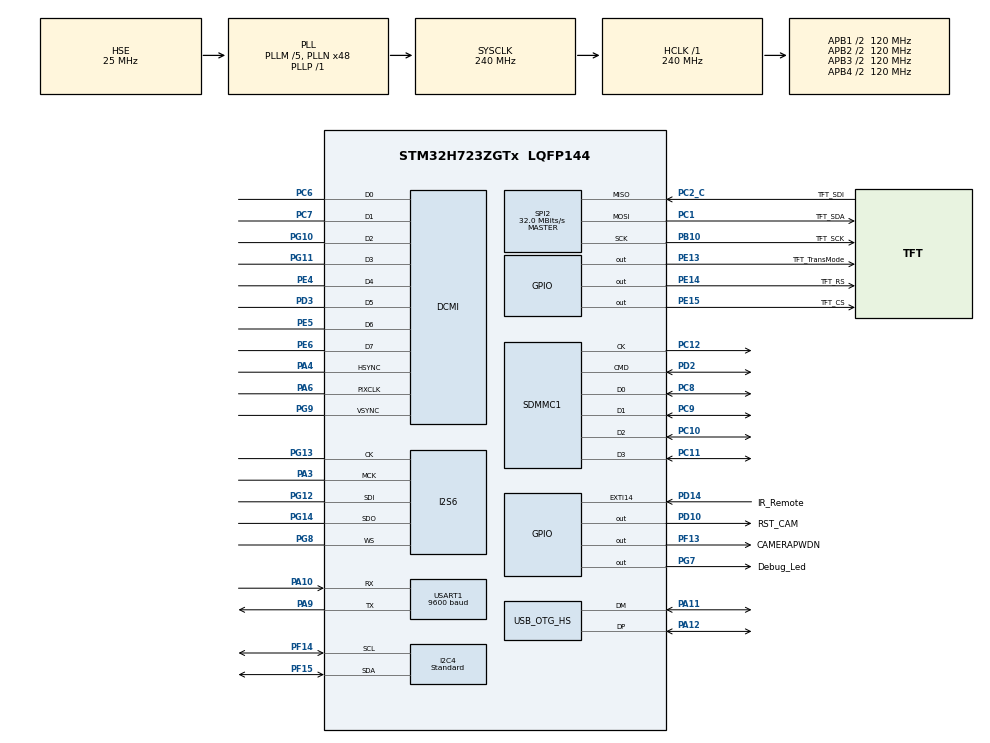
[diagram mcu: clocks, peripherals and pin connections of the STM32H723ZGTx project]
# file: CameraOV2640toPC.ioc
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Bdma.Request0=SPI6_TX
Bdma.RequestsNb=1
Bdma.SPI6_TX.0.Direction=DMA_MEMORY_TO_PERIPH
Bdma.SPI6_TX.0.EventEnable=DISABLE
Bdma.SPI6_TX.0.Instance=BDMA_Channel0
Bdma.SPI6_TX.0.MemDataAlignment=DMA_MDATAALIGN_HALFWORD
Bdma.SPI6_TX.0.MemInc=DMA_MINC_ENABLE
Bdma.SPI6_TX.0.Mode=DMA_CIRCULAR
Bdma.SPI6_TX.0.PeriphDataAlignment=DMA_PDATAALIGN_HALFWORD
Bdma.SPI6_TX.0.PeriphInc=DMA_PINC_DISABLE
Bdma.SPI6_TX.0.Polarity=HAL_DMAMUX_REQ_GEN_RISING
Bdma.SPI6_TX.0.Priority=DMA_PRIORITY_LOW
Bdma.SPI6_TX.0.RequestNumber=1
Bdma.SPI6_TX.0.SignalID=NONE
Bdma.SPI6_TX.0.SyncEnable=DISABLE
Bdma.SPI6_TX.0.SyncPolarity=HAL_DMAMUX_SYNC_NO_EVENT
Bdma.SPI6_TX.0.SyncRequestNumber=1
Bdma.SPI6_TX.0.SyncSignalID=NONE
CORTEX_M7.default_mode_Activation=1
DCMI.ByteSelectMode=DCMI_BSM_ALL
DCMI.CaptureRate=DCMI_CR_ALL_FRAME
DCMI.HSPolarity=DCMI_HSPOLARITY_LOW
DCMI.JPEGMode=DCMI_JPEG_ENABLE
DCMI.PCKPolarity=DCMI_PCKPOLARITY_RISING
DCMI.VSPolarity=DCMI_VSPOLARITY_LOW
Dma.DCMI.2.Direction=DMA_PERIPH_TO_MEMORY
Dma.DCMI.2.EventEnable=DISABLE
Dma.DCMI.2.FIFOMode=DMA_FIFOMODE_ENABLE
Dma.DCMI.2.FIFOThreshold=DMA_FIFO_THRESHOLD_FULL
Dma.DCMI.2.Instance=DMA1_Stream1
Dma.DCMI.2.MemBurst=DMA_MBURST_SINGLE
Dma.DCMI.2.MemDataAlignment=DMA_MDATAALIGN_WORD
Dma.DCMI.2.MemInc=DMA_MINC_ENABLE
Dma.DCMI.2.Mode=DMA_NORMAL
Dma.DCMI.2.PeriphBurst=DMA_PBURST_SINGLE
Dma.DCMI.2.PeriphDataAlignment=DMA_PDATAALIGN_WORD
Dma.DCMI.2.PeriphInc=DMA_PINC_DISABLE
Dma.DCMI.2.Polarity=HAL_DMAMUX_REQ_GEN_RISING
Dma.DCMI.2.Priority=DMA_PRIORITY_LOW
Dma.DCMI.2.RequestNumber=1
Dma.DCMI.2.SignalID=NONE
Dma.DCMI.2.SyncEnable=DISABLE
Dma.DCMI.2.SyncPolarity=HAL_DMAMUX_SYNC_NO_EVENT
Dma.DCMI.2.SyncRequestNumber=1
Dma.DCMI.2.SyncSignalID=NONE
Dma.Request0=SPI2_TX
Dma.Request1=USART1_RX
Dma.Request2=DCMI
Dma.SPI2_TX.0.Direction=DMA_MEMORY_TO_PERIPH
Dma.SPI2_TX.0.EventEnable=DISABLE
Dma.SPI2_TX.0.FIFOMode=DMA_FIFOMODE_DISABLE
Dma.SPI2_TX.0.Instance=DMA1_Stream3
Dma.SPI2_TX.0.MemDataAlignment=DMA_MDATAALIGN_BYTE
Dma.SPI2_TX.0.MemInc=DMA_MINC_ENABLE
Dma.SPI2_TX.0.Mode=DMA_NORMAL
Dma.SPI2_TX.0.PeriphDataAlignment=DMA_PDATAALIGN_BYTE
Dma.SPI2_TX.0.PeriphInc=DMA_PINC_DISABLE
Dma.SPI2_TX.0.Polarity=HAL_DMAMUX_REQ_GEN_RISING
Dma.SPI2_TX.0.Priority=DMA_PRIORITY_VERY_HIGH
Dma.SPI2_TX.0.RequestNumber=1
Dma.SPI2_TX.0.SignalID=NONE
Dma.SPI2_TX.0.SyncEnable=DISABLE
Dma.SPI2_TX.0.SyncPolarity=HAL_DMAMUX_SYNC_NO_EVENT
Dma.SPI2_TX.0.SyncRequestNumber=1
Dma.SPI2_TX.0.SyncSignalID=NONE
Dma.USART1_RX.1.Direction=DMA_PERIPH_TO_MEMORY
Dma.USART1_RX.1.EventEnable=DISABLE
Dma.USART1_RX.1.FIFOMode=DMA_FIFOMODE_DISABLE
Dma.USART1_RX.1.Instance=DMA1_Stream0
Dma.USART1_RX.1.MemDataAlignment=DMA_MDATAALIGN_BYTE
Dma.USART1_RX.1.MemInc=DMA_MINC_ENABLE
Dma.USART1_RX.1.Mode=DMA_NORMAL
Dma.USART1_RX.1.PeriphDataAlignment=DMA_PDATAALIGN_BYTE
Dma.USART1_RX.1.PeriphInc=DMA_PINC_DISABLE
Dma.USART1_RX.1.Polarity=HAL_DMAMUX_REQ_GEN_RISING
Dma.USART1_RX.1.Priority=DMA_PRIORITY_LOW
Dma.USART1_RX.1.RequestNumber=1
Dma.USART1_RX.1.SignalID=NONE
Dma.USART1_RX.1.SyncEnable=DISABLE
Dma.USART1_RX.1.SyncPolarity=HAL_DMAMUX_SYNC_NO_EVENT
Dma.USART1_RX.1.SyncRequestNumber=1
Dma.USART1_RX.1.SyncSignalID=NONE
FATFS._FS_TIMEOUT=0x2710
FATFS._MAX_SS=4096
FATFS._MULTI_PARTITION=0
FATFS._USE_CHMOD=0
FATFS._USE_LABEL=1
FATFS._USE_LFN=3
I2C4.Analog_Filter=I2C_ANALOGFILTER_ENABLE
I2C4.I2C_Fall_Time=2
I2C4.I2C_Rise_Time=2
I2C4.I2C_Speed_Mode=I2C_Standard
I2C4.Speed=100
I2C4.Timing=0x307075B1
I2S6.AudioFreq=I2S_AUDIOFREQ_16K
I2S6.ErrorAudioFreq=1.01 %
I2S6.Instance=SPI$Index
I2S6.RealAudioFreq=16.163 KHz
Mcu.Family=STM32H7
Mcu.Name=STM32H723ZGTx
Mcu.Package=LQFP144
NVIC.BDMA_Channel0_IRQn=true\:0\:0\:true\:false\:true\:false\:true\:true
NVIC.DCMI_PSSI_IRQn=true\:1\:0\:true\:false\:true\:true\:true\:true
NVIC.DMA1_Stream0_IRQn=true\:0\:0\:false\:false\:true\:false\:true\:true
NVIC.DMA1_Stream1_IRQn=true\:1\:0\:true\:false\:true\:false\:true\:true
NVIC.DMA1_Stream3_IRQn=true\:0\:0\:true\:false\:true\:false\:true\:true
NVIC.EXTI15_10_IRQn=true\:0\:0\:true\:false\:true\:true\:true\:true
NVIC.OTG_HS_EP1_OUT_IRQn=true\:1\:0\:true\:false\:true\:true\:true\:true
NVIC.OTG_HS_IRQn=true\:1\:0\:true\:false\:true\:false\:true\:true
NVIC.PriorityGroup=NVIC_PRIORITYGROUP_4
NVIC.SDMMC1_IRQn=true\:0\:0\:true\:false\:true\:true\:true\:true
NVIC.SPI2_IRQn=true\:0\:0\:true\:false\:true\:false\:true\:true
NVIC.USART1_IRQn=true\:0\:0\:false\:false\:true\:true\:true\:true
PA10.Mode=Asynchronous
PA10.Signal=USART1_RX
PA11.Mode=Device_Only_FS
PA11.Signal=USB_OTG_HS_DM
PA12.Mode=Device_Only_FS
PA12.Signal=USB_OTG_HS_DP
PA13(JTMS/SWDIO).Mode=Serial_Wire
PA13(JTMS/SWDIO).Signal=DEBUG_JTMS-SWDIO
PA14(JTCK/SWCLK).Mode=Serial_Wire
PA14(JTCK/SWCLK).Signal=DEBUG_JTCK-SWCLK
PA3.Mode=Master_Clock_Activated
PA3.Signal=I2S6_MCK
PA4.GPIO_PuPd=GPIO_PULLUP
PA4.GPIO_Speed=GPIO_SPEED_FREQ_VERY_HIGH
PA4.Mode=Slave_8_bits_External_Synchro
PA4.Signal=DCMI_HSYNC
PA6.GPIO_PuPd=GPIO_PULLUP
PA6.GPIO_Speed=GPIO_SPEED_FREQ_VERY_HIGH
PA6.Mode=Slave_8_bits_External_Synchro
PA6.Signal=DCMI_PIXCLK
PA9.Mode=Asynchronous
PA9.Signal=USART1_TX
PB10.GPIO_Label=TFT_SCK
PB10.Mode=Full_Duplex_Master
PB10.Signal=SPI2_SCK
PC1.GPIO_Label=TFT_SDA
PC1.Mode=Full_Duplex_Master
PC1.Signal=SPI2_MOSI
PC10.Mode=SD_4_bits_Wide_bus
PC10.Signal=SDMMC1_D2
PC11.Mode=SD_4_bits_Wide_bus
PC11.Signal=SDMMC1_D3
PC12.Mode=SD_4_bits_Wide_bus
PC12.Signal=SDMMC1_CK
PC2_C.GPIO_Label=TFT_SDI
PC2_C.Mode=Full_Duplex_Master
PC2_C.Signal=SPI2_MISO
PC6.GPIO_PuPd=GPIO_PULLUP
PC6.GPIO_Speed=GPIO_SPEED_FREQ_VERY_HIGH
PC6.Mode=Slave_8_bits_External_Synchro
PC6.Signal=DCMI_D0
PC7.GPIO_PuPd=GPIO_PULLUP
PC7.GPIO_Speed=GPIO_SPEED_FREQ_VERY_HIGH
PC7.Mode=Slave_8_bits_External_Synchro
PC7.Signal=DCMI_D1
PC8.Mode=SD_4_bits_Wide_bus
PC8.Signal=SDMMC1_D0
PC9.Mode=SD_4_bits_Wide_bus
PC9.Signal=SDMMC1_D1
PD10.GPIO_Label=RST_CAM
PD10.GPIO_PuPd=GPIO_PULLUP
PD10.PinState=GPIO_PIN_SET
PD10.Signal=GPIO_Output
PD14.GPIO_Label=IR_Remote
PD14.GPIO_ModeDefaultEXTI=GPIO_MODE_IT_FALLING
PD14.GPIO_PuPd=GPIO_PULLUP
PD14.Signal=GPXTI14
PD2.Mode=SD_4_bits_Wide_bus
PD2.Signal=SDMMC1_CMD
PD3.GPIO_PuPd=GPIO_PULLUP
PD3.GPIO_Speed=GPIO_SPEED_FREQ_VERY_HIGH
PD3.Mode=Slave_8_bits_External_Synchro
PD3.Signal=DCMI_D5
PE13.GPIO_Label=TFT_TransMode
PE13.Signal=GPIO_Output
PE14.GPIO_Label=TFT_RS
PE14.Signal=GPIO_Output
PE15.GPIO_Label=TFT_CS
PE15.Signal=GPIO_Output
PE4.GPIO_PuPd=GPIO_PULLUP
PE4.GPIO_Speed=GPIO_SPEED_FREQ_VERY_HIGH
PE4.Mode=Slave_8_bits_External_Synchro
PE4.Signal=DCMI_D4
PE5.GPIO_PuPd=GPIO_PULLUP
PE5.GPIO_Speed=GPIO_SPEED_FREQ_VERY_HIGH
PE5.Mode=Slave_8_bits_External_Synchro
PE5.Signal=DCMI_D6
PE6.GPIO_PuPd=GPIO_PULLUP
PE6.GPIO_Speed=GPIO_SPEED_FREQ_VERY_HIGH
PE6.Mode=Slave_8_bits_External_Synchro
PE6.Signal=DCMI_D7
PF13.GPIO_Label=CAMERAPWDN
PF13.PinState=GPIO_PIN_RESET
PF13.Signal=GPIO_Output
PF14.GPIO_Pu=GPIO_PULLUP
PF14.GPIO_Speed=GPIO_SPEED_FREQ_VERY_HIGH
PF14.Mode=I2C
PF14.Signal=I2C4_SCL
PF15.GPIO_Pu=GPIO_PULLUP
PF15.GPIO_Speed=GPIO_SPEED_FREQ_VERY_HIGH
PF15.Mode=I2C
PF15.Signal=I2C4_SDA
PG10.GPIO_PuPd=GPIO_PULLUP
PG10.GPIO_Speed=GPIO_SPEED_FREQ_VERY_HIGH
PG10.Mode=Slave_8_bits_External_Synchro
PG10.Signal=DCMI_D2
PG11.GPIO_PuPd=GPIO_PULLUP
PG11.GPIO_Speed=GPIO_SPEED_FREQ_VERY_HIGH
PG11.Mode=Slave_8_bits_External_Synchro
PG11.Signal=DCMI_D3
PG12.Mode=Full_Duplex_Master
PG12.Signal=I2S6_SDI
PG13.Mode=Full_Duplex_Master
PG13.Signal=I2S6_CK
PG14.Mode=Full_Duplex_Master
PG14.Signal=I2S6_SDO
PG7.GPIO_Label=Debug_Led
PG7.Signal=GPIO_Output
PG8.Mode=Full_Duplex_Master
PG8.Signal=I2S6_WS
PG9.GPIO_PuPd=GPIO_PULLUP
PG9.GPIO_Speed=GPIO_SPEED_FREQ_VERY_HIGH
PG9.Mode=Slave_8_bits_External_Synchro
PG9.Signal=DCMI_VSYNC
PH0-OSC_IN.Mode=HSE-External-Oscillator
PH0-OSC_IN.Signal=RCC_OSC_IN
PH1-OSC_OUT.Mode=HSE-External-Oscillator
PH1-OSC_OUT.Signal=RCC_OSC_OUT
ProjectManager.HeapSize=0x200
ProjectManager.StackSize=0x400
ProjectManager.TargetToolchain=STM32CubeIDE
RCC.ADCFreq_Value=25000000
RCC.APB1Freq_Value=120000000
RCC.APB2Freq_Value=120000000
RCC.APB3Freq_Value=120000000
RCC.APB4Freq_Value=120000000
RCC.CortexFreq_Value=240000000
RCC.D1PPRE=RCC_APB3_DIV2
RCC.D2PPRE1=RCC_APB1_DIV2
RCC.D2PPRE2=RCC_APB2_DIV2
RCC.D3PPRE=RCC_APB4_DIV2
RCC.DIVM1=5
RCC.DIVM2=4
RCC.DIVM3=4
RCC.DIVN1=48
RCC.DIVN2=12
RCC.DIVN3=12
RCC.DIVP1=1
RCC.DIVP2=3
RCC.DIVP3=1
RCC.DIVQ1=5
RCC.DIVR2=1
RCC.HCLKFreq_Value=240000000
RCC.PLL2FRACN=0
RCC.PLL3FRACN=0
RCC.PLLFRACN=0
RCC.SPI123CLockSelection=RCC_SPI123CLKSOURCE_CLKP
RCC.SYSCLKFreq_VALUE=240000000
RCC.SYSCLKSource=RCC_SYSCLKSOURCE_PLLCLK
RCC.USBFreq_Value=48000000
SDMMC1.ClockDiv=2
SDMMC1.HardwareFlowControl=SDMMC_HARDWARE_FLOW_CONTROL_ENABLE
SDMMC1.TransceiverPresent=SDMMC_TRANSCEIVER_NOT_PRESENT
SPI2.BaudRatePrescaler=SPI_BAUDRATEPRESCALER_2
SPI2.CalculateBaudRate=32.0 MBits/s
SPI2.DataSize=SPI_DATASIZE_8BIT
SPI2.Direction=SPI_DIRECTION_2LINES
SPI2.FirstBit=SPI_FIRSTBIT_MSB
SPI2.Mode=SPI_MODE_MASTER
SPI2.NSSPMode=SPI_NSS_PULSE_DISABLE
SPI2.VirtualType=VM_MASTER
STMicroelectronics.X-CUBE-AI.10.2.0.HeapSize=0x800
STMicroelectronics.X-CUBE-AI.10.2.0.ReadyForCodeGeneration=false
STMicroelectronics.X-CUBE-AI.10.2.0.StackSize=0x800
TIM4.Prescaler=216
USART1.BaudRate=9600
USART1.VirtualMode-Asynchronous=VM_ASYNC
USB_DEVICE.CLASS_NAME_HS=CDC
USB_DEVICE.VirtualMode=Cdc
USB_DEVICE.VirtualModeHS=Cdc_HS
USB_OTG_HS.VirtualMode-Device_Only_FS=Device_Only_FS
USB_OTG_HS.dma_enable-Device_Only_FS=DISABLE
VP_FATFS_VS_Generic.Mode=User_defined
VP_FATFS_VS_SDIO.Mode=SDIO
VP_MEMORYMAP_VS_MEMORYMAP.Mode=CurAppReg
VP_TIM4_VS_ClockSourceINT.Mode=Internal
VP_USB_DEVICE_VS_USB_DEVICE_CDC_HS.Mode=CDC_HS
board=custom

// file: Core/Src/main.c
/* USER CODE BEGIN Header */
/**
 ******************************************************************************
 * @file           : main.c
 * @brief          : Main program body
 ******************************************************************************
 * @attention
 *
 * Copyright (c) 2025 STMicroelectronics.
 * All rights reserved.
 *
 * This software is licensed under terms that can be found in the LICENSE file
 * in the root directory of this software component.
 * If no LICENSE file comes with this software, it is provided AS-IS.
 *
 ******************************************************************************
 */
/* USER CODE END Header */
#include "main.h"
#include "fatfs.h"
#include "usb_device.h"

/* USER CODE BEGIN Includes */
#include "display.h"
//#include "jpeg_lcd.h"
#include "sdio_benchmark.h"
#include "sdio_functions.h"
#include "wav_player.h"
#include "itr.h"
#include "ov2640.h"
#include "usbd_cdc_if.h"
/* USER CODE END Includes */

DCMI_HandleTypeDef hdcmi;
DMA_HandleTypeDef hdma_dcmi;

I2C_HandleTypeDef hi2c4;

I2S_HandleTypeDef hi2s6;
DMA_HandleTypeDef hdma_spi6_tx;

SD_HandleTypeDef hsd1;

SPI_HandleTypeDef hspi2;
DMA_HandleTypeDef hdma_spi2_tx;

TIM_HandleTypeDef htim4;

UART_HandleTypeDef huart1;
DMA_HandleTypeDef hdma_usart1_rx;

/* USER CODE BEGIN PV */
//For File browser and UART
uint8_t firmware_data[1024];
volatile uint8_t FileSelection = 0;
SDFile_Info FileListTree;
SDFile_Info *Current_Page;
//For image display
UINT br;
uint8_t image_id = 0;
volatile uint8_t IsPlayingContent = 0;
char path[256];
char SDFullName[256];
//For IR Remote control
uint32_t tempCode;
uint8_t bitIndex;
uint8_t cmd;
uint8_t cmdli;
uint32_t code;
volatile uint8_t picture_capture = 0;
extern volatile uint16_t FrameBuff[240][320];
//extern uint16_t FrameBuffB[240][320];
extern uint8_t Jpeg_frame[32768];
/* USER CODE END PV */

void SystemClock_Config(void);
void PeriphCommonClock_Config(void);
static void MPU_Config(void);
static void MX_GPIO_Init(void);
static void MX_DMA_Init(void);
static void MX_BDMA_Init(void);
static void MX_SPI2_Init(void);
static void MX_USART1_UART_Init(void);
static void MX_I2S6_Init(void);
static void MX_TIM4_Init(void);
static void MX_SDMMC1_SD_Init(void);
static void MX_DCMI_Init(void);
static void MX_I2C4_Init(void);
/* USER CODE BEGIN PFP */
static void IR_Control(uint32_t Ir_code);
/* USER CODE END PFP */

/* USER CODE BEGIN 0 */

int _write(int fd, unsigned char *buf, int len) {
	if (fd == 1 || fd == 2) {                              // stdout or stderr ?
		HAL_UART_Transmit(&huart1, buf, len, 999); // Print to the UART
	}
	return len;
}

// GPIO EXTI callbacks
void HAL_GPIO_EXTI_Callback(uint16_t GPIO_Pin) {
	UNUSED(GPIO_Pin);
	if (GPIO_Pin == IR_Remote_Pin) {
		if (__HAL_TIM_GET_COUNTER(&htim4) > 8000) {
			tempCode = 0;
			bitIndex = 0;
		} else if (__HAL_TIM_GET_COUNTER(&htim4) > 1700) {
			tempCode |= (1UL << (31 - bitIndex)); // write 1
			bitIndex++;
		} else if (__HAL_TIM_GET_COUNTER(&htim4) > 1000) {
			tempCode &= ~(1UL << (31 - bitIndex)); // write 0
			bitIndex++;
		}
		if (bitIndex == 32) {
			cmdli = ~tempCode;   // Logical inverted last 8 bits
			cmd = tempCode >> 8; // Second last 8 bits
			if (cmdli == cmd)    // Check for errors
					{
				code = tempCode; // If no bit errors
				// Do your main work HERE
				IR_Control(code);
			}
			bitIndex = 0;
		}
		__HAL_TIM_SET_COUNTER(&htim4, 0);
	}
}
// UART callbacks
void HAL_UARTEx_RxEventCallback(UART_HandleTypeDef *huart, uint16_t Size) {
	memset(firmware_data, 0, 1024);
	HAL_UARTEx_ReceiveToIdle_IT(&huart1, firmware_data, 1024);
}
volatile uint8_t done_flag = 0 ;
uint32_t line_cnt = 0;
void HAL_DCMI_VsyncEventCallback(DCMI_HandleTypeDef *hdcmi)
{
    /* Disable DCMI Camera interface */
	printf("Frame captured in vsync!\n");
	done_flag = 1;
	//HAL_DCMI_Suspend(&hdcmi);
	//LCD_DrawPixData(0, 0, 320, 240, FrameBuff);
	//HAL_DCMI_Resume(&hdcmi);
//    HAL_DCMI_Stop(&hdcmi);
    //LCD_DrawPixData(0, 0, 320, 240, FrameBuff);
    //HAL_DCMI_Start_DMA(&hdcmi, DCMI_MODE_SNAPSHOT, FrameBuff, 320*(240)/2);
}
void HAL_DCMI_FrameEventCallback(DCMI_HandleTypeDef *hdcmi) {
    printf("Frame captured!\n");
    //done_flag = 1;
//    HAL_DCMI_Stop(&hdcmi);
//    memcpy(FrameBuff,FrameBuffB,sizeof(FrameBuffB));
   // LCD_DrawPixData(0, 0, 320, 240, FrameBuff);

    //HAL_DCMI_Start_DMA(&hdcmi, DCMI_MODE_CONTINUOUS, FrameBuff, 320*(240)/2);
    line_cnt = 0;
}
void HAL_DCMI_LineEventCallback(DCMI_HandleTypeDef *hdcmi){
	line_cnt++;
}

uint32_t find_jpeg_size(uint8_t *buf, uint32_t max_len)
{
    for (uint32_t i = 0; i < max_len - 1; i++)
    {
        if (buf[i] == 0xFF && buf[i + 1] == 0xD9)
        {
            return i + 2;  // kích thước thực (tính luôn 2 byte marker)
        }
    }
    return 0; // không tìm thấy
}

void send_jpeg(uint8_t *jpeg_buf, uint32_t jpeg_size)
{
    uint8_t header[6];
    header[0] = 0xAA;
    header[1] = 0x55;
    header[2] = (jpeg_size >> 0) & 0xFF;
    header[3] = (jpeg_size >> 8) & 0xFF;
    header[4] = (jpeg_size >> 16) & 0xFF;
    header[5] = (jpeg_size >> 24) & 0xFF;
    if(jpeg_size != 0){
        CDC_Transmit_HS(header, 6);
        HAL_Delay(1);
        const uint32_t CHUNK = 512;
        for (uint32_t i = 0; i < jpeg_size; i += CHUNK) {
            uint32_t len = (jpeg_size - i > CHUNK) ? CHUNK : (jpeg_size - i);
            CDC_Transmit_HS(&jpeg_buf[i], len);
            HAL_Delay(1);
        }
    }
    HAL_Delay(80);

}

/* USER CODE END 0 */

int main(void)
{

  /* USER CODE BEGIN 1 */
	FIL video_f;

  /* USER CODE END 1 */

  /* MPU Configuration--------------------------------------------------------*/
  MPU_Config();

  /* MCU Configuration--------------------------------------------------------*/

  /* Reset of all peripherals, Initializes the Flash interface and the Systick. */
  HAL_Init();

  /* Configure the system clock */
  SystemClock_Config();

  /* Configure the peripherals common clocks */
  PeriphCommonClock_Config();

  /* Initialize all configured peripherals */
  MX_GPIO_Init();
  MX_DMA_Init();
  MX_BDMA_Init();
  MX_FATFS_Init();
  MX_SPI2_Init();
  MX_USART1_UART_Init();
  MX_I2S6_Init();
  MX_TIM4_Init();
  MX_SDMMC1_SD_Init();
  MX_DCMI_Init();
  MX_I2C4_Init();
  MX_USB_DEVICE_Init();
  /* USER CODE BEGIN 2 */
	// System peripheral
	for(int i = 0;i < 240;i++){
		memset(FrameBuff[i],0,320*2);
	}
//	HAL_TIM_Base_Start(&htim4);
//	__HAL_TIM_SET_COUNTER(&htim4, 0);
//	HAL_UARTEx_ReceiveToIdle_IT(&huart1, firmware_data, 1024);
	// User playground
	// For display
    uint16_t* p_lcdData = FrameBuff;

    HAL_Delay(6000);

	LCD_Init(&hspi2, &IsPlayingContent, 1);
	LCD_AdjustGamma();
	LCD_FillScreen(0x0000, 320, 240);
	Itr_InitSPICBFunc(LCD_SPI_TxCpltCb, LCD_SPI_TxRxCpltCb);
	//uint8_t *ss = "xuantruong";
	//LCD_WriteString(0, 0,ss , Font_11x18, 0xe7a5, 0x10a6);
	// Camera OV2640
    ov2640_Init(0x60, CAMERA_Movie);
    HAL_DCMI_Start_DMA(&hdcmi, DCMI_MODE_SNAPSHOT, (uint32_t)FrameBuff,  320*240/2);
    //LCD_WriteString(0, 0, "After receive the Jpeg Image STM32 is gonna send the image to PC b USB OTS", Font_11x18, 0xe7a5, 0x10a6);
#define IDLEx
	// For SD card
//	while (1) {
//		if (sdio_mount() == FR_OK) {
//			break;
//		}
//	}
//	HAL_Delay(2000);
//	IsPlayingContent = 0;
//	sdio_list_files(&FileListTree);
	//print_directory(FileListTree.Directory_Ptr, 0, FileListTree.childCount);
//	Itr_InitI2SCBFunc(Audio_I2S_TxHalfCb, Audio_I2S_TxCpltCb);
//	LCD_DisplayBMP("0:/image/image2_rgb888_320x240.bmp");

#ifndef IDLEx
	Itr_InitI2SCBFunc(Audio_I2S_TxHalfCb, Audio_I2S_TxCpltCb);
	Itr_InitSPICBFunc(LCD_SPI_TxCpltCb, LCD_SPI_TxRxCpltCb);
//	 For File browser
	/*Point to root page*/

	memset(path,0,256);
	memset(SDFullName,0,256);
	strcat(path,"0:/");

	Current_Page = FileListTree.Directory_Ptr;
	Browser_Init(&Current_Page);

#endif
  /* USER CODE END 2 */

  /* Infinite loop */
  /* USER CODE BEGIN WHILE */
	uint32_t now = 0;
	uint32_t next = 1000;
	uint32_t cnt = 0;
	uint32_t cam_jpg_size = 0;
	while (1) {
		//now = HAL_GetTick();
		if(done_flag == 1){
			//LCD_DrawPixData(0, pos_y, width, height, data_frame)
			HAL_Delay(1);
			HAL_DCMI_Stop(&hdcmi);
			cam_jpg_size = find_jpeg_size(FrameBuff, 320*240/2);
			if( FrameBuff[0][0] == 0xd8ff){
				send_jpeg(FrameBuff,cam_jpg_size);
			}
			memset(&FrameBuff[0],0,320*2*240);
			HAL_DCMI_Start_DMA(&hdcmi, DCMI_MODE_SNAPSHOT, FrameBuff,  320*240/2);
			done_flag = 0;
			cnt++;
		}
		//if (now > next) {
			//CDC_Transmit_HS("xuantruong\n", 11);
		//	next +=1000;
		//}

    /* USER CODE END WHILE */

	}
}

void SystemClock_Config(void)
{
  RCC_OscInitTypeDef RCC_OscInitStruct = {0};
  RCC_ClkInitTypeDef RCC_ClkInitStruct = {0};

  /** Supply configuration update enable
  */
  HAL_PWREx_ConfigSupply(PWR_LDO_SUPPLY);

  /** Configure the main internal regulator output voltage
  */
  __HAL_PWR_VOLTAGESCALING_CONFIG(PWR_REGULATOR_VOLTAGE_SCALE0);

  while(!__HAL_PWR_GET_FLAG(PWR_FLAG_VOSRDY)) {}

  /** Initializes the RCC Oscillators according to the specified parameters
  * in the RCC_OscInitTypeDef structure.
  */
  RCC_OscInitStruct.OscillatorType = RCC_OSCILLATORTYPE_HSI|RCC_OSCILLATORTYPE_HSE;
  RCC_OscInitStruct.HSEState = RCC_HSE_ON;
  RCC_OscInitStruct.HSIState = RCC_HSI_DIV1;
  RCC_OscInitStruct.HSICalibrationValue = 64;
  RCC_OscInitStruct.PLL.PLLState = RCC_PLL_ON;
  RCC_OscInitStruct.PLL.PLLSource = RCC_PLLSOURCE_HSE;
  RCC_OscInitStruct.PLL.PLLM = 5;
  RCC_OscInitStruct.PLL.PLLN = 48;
  RCC_OscInitStruct.PLL.PLLP = 1;
  RCC_OscInitStruct.PLL.PLLQ = 5;
  RCC_OscInitStruct.PLL.PLLR = 2;
  RCC_OscInitStruct.PLL.PLLRGE = RCC_PLL1VCIRANGE_2;
  RCC_OscInitStruct.PLL.PLLVCOSEL = RCC_PLL1VCOWIDE;
  RCC_OscInitStruct.PLL.PLLFRACN = 0;
  if (HAL_RCC_OscConfig(&RCC_OscInitStruct) != HAL_OK)
  {
    Error_Handler();
  }

  /** Initializes the CPU, AHB and APB buses clocks
  */
  RCC_ClkInitStruct.ClockType = RCC_CLOCKTYPE_HCLK|RCC_CLOCKTYPE_SYSCLK
                              |RCC_CLOCKTYPE_PCLK1|RCC_CLOCKTYPE_PCLK2
                              |RCC_CLOCKTYPE_D3PCLK1|RCC_CLOCKTYPE_D1PCLK1;
  RCC_ClkInitStruct.SYSCLKSource = RCC_SYSCLKSOURCE_PLLCLK;
  RCC_ClkInitStruct.SYSCLKDivider = RCC_SYSCLK_DIV1;
  RCC_ClkInitStruct.AHBCLKDivider = RCC_HCLK_DIV1;
  RCC_ClkInitStruct.APB3CLKDivider = RCC_APB3_DIV2;
  RCC_ClkInitStruct.APB1CLKDivider = RCC_APB1_DIV2;
  RCC_ClkInitStruct.APB2CLKDivider = RCC_APB2_DIV2;
  RCC_ClkInitStruct.APB4CLKDivider = RCC_APB4_DIV2;

  if (HAL_RCC_ClockConfig(&RCC_ClkInitStruct, FLASH_LATENCY_3) != HAL_OK)
  {
    Error_Handler();
  }
}

void PeriphCommonClock_Config(void)
{
  RCC_PeriphCLKInitTypeDef PeriphClkInitStruct = {0};

  /** Initializes the peripherals clock
  */
  PeriphClkInitStruct.PeriphClockSelection = RCC_PERIPHCLK_CKPER;
  PeriphClkInitStruct.CkperClockSelection = RCC_CLKPSOURCE_HSI;
  if (HAL_RCCEx_PeriphCLKConfig(&PeriphClkInitStruct) != HAL_OK)
  {
    Error_Handler();
  }
}

static void MX_DCMI_Init(void)
{

  hdcmi.Instance = DCMI;
  hdcmi.Init.SynchroMode = DCMI_SYNCHRO_HARDWARE;
  hdcmi.Init.PCKPolarity = DCMI_PCKPOLARITY_RISING;
  hdcmi.Init.VSPolarity = DCMI_VSPOLARITY_LOW;
  hdcmi.Init.HSPolarity = DCMI_HSPOLARITY_LOW;
  hdcmi.Init.CaptureRate = DCMI_CR_ALL_FRAME;
  hdcmi.Init.ExtendedDataMode = DCMI_EXTEND_DATA_8B;
  hdcmi.Init.JPEGMode = DCMI_JPEG_ENABLE;
  hdcmi.Init.ByteSelectMode = DCMI_BSM_ALL;
  hdcmi.Init.ByteSelectStart = DCMI_OEBS_ODD;
  hdcmi.Init.LineSelectMode = DCMI_LSM_ALL;
  hdcmi.Init.LineSelectStart = DCMI_OELS_ODD;
  if (HAL_DCMI_Init(&hdcmi) != HAL_OK)
  {
    Error_Handler();
  }

}

static void MX_I2C4_Init(void)
{

  hi2c4.Instance = I2C4;
  hi2c4.Init.Timing = 0x307075B1;
  hi2c4.Init.OwnAddress1 = 0;
  hi2c4.Init.AddressingMode = I2C_ADDRESSINGMODE_7BIT;
  hi2c4.Init.DualAddressMode = I2C_DUALADDRESS_DISABLE;
  hi2c4.Init.OwnAddress2 = 0;
  hi2c4.Init.OwnAddress2Masks = I2C_OA2_NOMASK;
  hi2c4.Init.GeneralCallMode = I2C_GENERALCALL_DISABLE;
  hi2c4.Init.NoStretchMode = I2C_NOSTRETCH_DISABLE;
  if (HAL_I2C_Init(&hi2c4) != HAL_OK)
  {
    Error_Handler();
  }

  /** Configure Analogue filter
  */
  if (HAL_I2CEx_ConfigAnalogFilter(&hi2c4, I2C_ANALOGFILTER_ENABLE) != HAL_OK)
  {
    Error_Handler();
  }

  /** Configure Digital filter
  */
  if (HAL_I2CEx_ConfigDigitalFilter(&hi2c4, 0) != HAL_OK)
  {
    Error_Handler();
  }

}

static void MX_I2S6_Init(void)
{

  hi2s6.Instance = SPI6;
  hi2s6.Init.Mode = I2S_MODE_MASTER_FULLDUPLEX;
  hi2s6.Init.Standard = I2S_STANDARD_PHILIPS;
  hi2s6.Init.DataFormat = I2S_DATAFORMAT_16B;
  hi2s6.Init.MCLKOutput = I2S_MCLKOUTPUT_ENABLE;
  hi2s6.Init.AudioFreq = I2S_AUDIOFREQ_16K;
  hi2s6.Init.CPOL = I2S_CPOL_LOW;
  hi2s6.Init.FirstBit = I2S_FIRSTBIT_MSB;
  hi2s6.Init.WSInversion = I2S_WS_INVERSION_DISABLE;
  hi2s6.Init.Data24BitAlignment = I2S_DATA_24BIT_ALIGNMENT_RIGHT;
  hi2s6.Init.MasterKeepIOState = I2S_MASTER_KEEP_IO_STATE_DISABLE;
  if (HAL_I2S_Init(&hi2s6) != HAL_OK)
  {
    Error_Handler();
  }

}

static void MX_SDMMC1_SD_Init(void)
{

  hsd1.Instance = SDMMC1;
  hsd1.Init.ClockEdge = SDMMC_CLOCK_EDGE_RISING;
  hsd1.Init.ClockPowerSave = SDMMC_CLOCK_POWER_SAVE_DISABLE;
  hsd1.Init.BusWide = SDMMC_BUS_WIDE_4B;
  hsd1.Init.HardwareFlowControl = SDMMC_HARDWARE_FLOW_CONTROL_ENABLE;
  hsd1.Init.ClockDiv = 2;
  if (HAL_SD_Init(&hsd1) != HAL_OK)
  {
    Error_Handler();
  }

}

static void MX_SPI2_Init(void)
{

  /* SPI2 parameter configuration*/
  hspi2.Instance = SPI2;
  hspi2.Init.Mode = SPI_MODE_MASTER;
  hspi2.Init.Direction = SPI_DIRECTION_2LINES;
  hspi2.Init.DataSize = SPI_DATASIZE_8BIT;
  hspi2.Init.CLKPolarity = SPI_POLARITY_LOW;
  hspi2.Init.CLKPhase = SPI_PHASE_1EDGE;
  hspi2.Init.NSS = SPI_NSS_SOFT;
  hspi2.Init.BaudRatePrescaler = SPI_BAUDRATEPRESCALER_2;
  hspi2.Init.FirstBit = SPI_FIRSTBIT_MSB;
  hspi2.Init.TIMode = SPI_TIMODE_DISABLE;
  hspi2.Init.CRCCalculation = SPI_CRCCALCULATION_DISABLE;
  hspi2.Init.CRCPolynomial = 0x0;
  hspi2.Init.NSSPMode = SPI_NSS_PULSE_DISABLE;
  hspi2.Init.NSSPolarity = SPI_NSS_POLARITY_LOW;
  hspi2.Init.FifoThreshold = SPI_FIFO_THRESHOLD_01DATA;
  hspi2.Init.TxCRCInitializationPattern = SPI_CRC_INITIALIZATION_ALL_ZERO_PATTERN;
  hspi2.Init.RxCRCInitializationPattern = SPI_CRC_INITIALIZATION_ALL_ZERO_PATTERN;
  hspi2.Init.MasterSSIdleness = SPI_MASTER_SS_IDLENESS_00CYCLE;
  hspi2.Init.MasterInterDataIdleness = SPI_MASTER_INTERDATA_IDLENESS_00CYCLE;
  hspi2.Init.MasterReceiverAutoSusp = SPI_MASTER_RX_AUTOSUSP_DISABLE;
  hspi2.Init.MasterKeepIOState = SPI_MASTER_KEEP_IO_STATE_DISABLE;
  hspi2.Init.IOSwap = SPI_IO_SWAP_DISABLE;
  if (HAL_SPI_Init(&hspi2) != HAL_OK)
  {
    Error_Handler();
  }

}

static void MX_TIM4_Init(void)
{

  TIM_ClockConfigTypeDef sClockSourceConfig = {0};
  TIM_MasterConfigTypeDef sMasterConfig = {0};

  htim4.Instance = TIM4;
  htim4.Init.Prescaler = 216;
  htim4.Init.CounterMode = TIM_COUNTERMODE_UP;
  htim4.Init.Period = 65535;
  htim4.Init.ClockDivision = TIM_CLOCKDIVISION_DIV1;
  htim4.Init.AutoReloadPreload = TIM_AUTORELOAD_PRELOAD_DISABLE;
  if (HAL_TIM_Base_Init(&htim4) != HAL_OK)
  {
    Error_Handler();
  }
  sClockSourceConfig.ClockSource = TIM_CLOCKSOURCE_INTERNAL;
  if (HAL_TIM_ConfigClockSource(&htim4, &sClockSourceConfig) != HAL_OK)
  {
    Error_Handler();
  }
  sMasterConfig.MasterOutputTrigger = TIM_TRGO_RESET;
  sMasterConfig.MasterSlaveMode = TIM_MASTERSLAVEMODE_DISABLE;
  if (HAL_TIMEx_MasterConfigSynchronization(&htim4, &sMasterConfig) != HAL_OK)
  {
    Error_Handler();
  }

}

static void MX_USART1_UART_Init(void)
{

  huart1.Instance = USART1;
  huart1.Init.BaudRate = 9600;
  huart1.Init.WordLength = UART_WORDLENGTH_8B;
  huart1.Init.StopBits = UART_STOPBITS_1;
  huart1.Init.Parity = UART_PARITY_NONE;
  huart1.Init.Mode = UART_MODE_TX_RX;
  huart1.Init.HwFlowCtl = UART_HWCONTROL_NONE;
  huart1.Init.OverSampling = UART_OVERSAMPLING_16;
  huart1.Init.OneBitSampling = UART_ONE_BIT_SAMPLE_DISABLE;
  huart1.Init.ClockPrescaler = UART_PRESCALER_DIV1;
  huart1.AdvancedInit.AdvFeatureInit = UART_ADVFEATURE_NO_INIT;
  if (HAL_UART_Init(&huart1) != HAL_OK)
  {
    Error_Handler();
  }
  if (HAL_UARTEx_SetTxFifoThreshold(&huart1, UART_TXFIFO_THRESHOLD_1_8) != HAL_OK)
  {
    Error_Handler();
  }
  if (HAL_UARTEx_SetRxFifoThreshold(&huart1, UART_RXFIFO_THRESHOLD_1_8) != HAL_OK)
  {
    Error_Handler();
  }
  if (HAL_UARTEx_DisableFifoMode(&huart1) != HAL_OK)
  {
    Error_Handler();
  }

}

static void MX_BDMA_Init(void)
{

  /* DMA controller clock enable */
  __HAL_RCC_BDMA_CLK_ENABLE();

  /* DMA interrupt init */
  /* BDMA_Channel0_IRQn interrupt configuration */
  HAL_NVIC_SetPriority(BDMA_Channel0_IRQn, 0, 0);
  HAL_NVIC_EnableIRQ(BDMA_Channel0_IRQn);

}

static void MX_DMA_Init(void)
{

  /* DMA controller clock enable */
  __HAL_RCC_DMA1_CLK_ENABLE();

  /* DMA interrupt init */
  /* DMA1_Stream0_IRQn interrupt configuration */
  HAL_NVIC_SetPriority(DMA1_Stream0_IRQn, 0, 0);
  HAL_NVIC_EnableIRQ(DMA1_Stream0_IRQn);
  /* DMA1_Stream1_IRQn interrupt configuration */
  HAL_NVIC_SetPriority(DMA1_Stream1_IRQn, 1, 0);
  HAL_NVIC_EnableIRQ(DMA1_Stream1_IRQn);
  /* DMA1_Stream3_IRQn interrupt configuration */
  HAL_NVIC_SetPriority(DMA1_Stream3_IRQn, 0, 0);
  HAL_NVIC_EnableIRQ(DMA1_Stream3_IRQn);

}

static void MX_GPIO_Init(void)
{
  GPIO_InitTypeDef GPIO_InitStruct = {0};

  /* GPIO Ports Clock Enable */
  __HAL_RCC_GPIOE_CLK_ENABLE();
  __HAL_RCC_GPIOH_CLK_ENABLE();
  __HAL_RCC_GPIOC_CLK_ENABLE();
  __HAL_RCC_GPIOA_CLK_ENABLE();
  __HAL_RCC_GPIOF_CLK_ENABLE();
  __HAL_RCC_GPIOB_CLK_ENABLE();
  __HAL_RCC_GPIOD_CLK_ENABLE();
  __HAL_RCC_GPIOG_CLK_ENABLE();

  /*Configure GPIO pin Output Level */
  HAL_GPIO_WritePin(CAMERAPWDN_GPIO_Port, CAMERAPWDN_Pin, GPIO_PIN_RESET);

  /*Configure GPIO pin Output Level */
  HAL_GPIO_WritePin(GPIOE, TFT_TransMode_Pin|TFT_RS_Pin|TFT_CS_Pin, GPIO_PIN_RESET);

  /*Configure GPIO pin Output Level */
  HAL_GPIO_WritePin(RST_CAM_GPIO_Port, RST_CAM_Pin, GPIO_PIN_SET);

  /*Configure GPIO pin Output Level */
  HAL_GPIO_WritePin(Debug_Led_GPIO_Port, Debug_Led_Pin, GPIO_PIN_RESET);

  /*Configure GPIO pin : CAMERAPWDN_Pin */
  GPIO_InitStruct.Pin = CAMERAPWDN_Pin;
  GPIO_InitStruct.Mode = GPIO_MODE_OUTPUT_PP;
  GPIO_InitStruct.Pull = GPIO_NOPULL;
  GPIO_InitStruct.Speed = GPIO_SPEED_FREQ_LOW;
  HAL_GPIO_Init(CAMERAPWDN_GPIO_Port, &GPIO_InitStruct);

  /*Configure GPIO pins : TFT_TransMode_Pin TFT_RS_Pin TFT_CS_Pin */
  GPIO_InitStruct.Pin = TFT_TransMode_Pin|TFT_RS_Pin|TFT_CS_Pin;
  GPIO_InitStruct.Mode = GPIO_MODE_OUTPUT_PP;
  GPIO_InitStruct.Pull = GPIO_NOPULL;
  GPIO_InitStruct.Speed = GPIO_SPEED_FREQ_LOW;
  HAL_GPIO_Init(GPIOE, &GPIO_InitStruct);

  /*Configure GPIO pin : RST_CAM_Pin */
  GPIO_InitStruct.Pin = RST_CAM_Pin;
  GPIO_InitStruct.Mode = GPIO_MODE_OUTPUT_PP;
  GPIO_InitStruct.Pull = GPIO_PULLUP;
  GPIO_InitStruct.Speed = GPIO_SPEED_FREQ_LOW;
  HAL_GPIO_Init(RST_CAM_GPIO_Port, &GPIO_InitStruct);

  /*Configure GPIO pin : IR_Remote_Pin */
  GPIO_InitStruct.Pin = IR_Remote_Pin;
  GPIO_InitStruct.Mode = GPIO_MODE_IT_FALLING;
  GPIO_InitStruct.Pull = GPIO_PULLUP;
  HAL_GPIO_Init(IR_Remote_GPIO_Port, &GPIO_InitStruct);

  /*Configure GPIO pin : Debug_Led_Pin */
  GPIO_InitStruct.Pin = Debug_Led_Pin;
  GPIO_InitStruct.Mode = GPIO_MODE_OUTPUT_PP;
  GPIO_InitStruct.Pull = GPIO_NOPULL;
  GPIO_InitStruct.Speed = GPIO_SPEED_FREQ_LOW;
  HAL_GPIO_Init(Debug_Led_GPIO_Port, &GPIO_InitStruct);

  /* EXTI interrupt init*/
  HAL_NVIC_SetPriority(IR_Remote_EXTI_IRQn, 0, 0);
  HAL_NVIC_EnableIRQ(IR_Remote_EXTI_IRQn);

}

/* USER CODE BEGIN 4 */
void IR_Control(uint32_t Ir_code) {

	switch (Ir_code) {
	case IR_CH_Minus:
		break;
	case IR_CH:
		break;
	case IR_CH_Plus:
		break;
	case IR_Prev:
		break;
	case IR_Next:
		break;
	case IR_Play_Pause: //Enter
		Browser_FileCtrl(IR_Play_Pause, FileSelection);
		IsPlayingContent = 1;
		break;
	case IR_Plus:
		FileSelection++;
		Browser_FileCtrl(IR_Plus, FileSelection);
		break;
	case IR_Minus:
		if (FileSelection > 0) {
			FileSelection--;
			Browser_FileCtrl(IR_Minus, FileSelection);
		}
		break;
	case IR_EQ: //Back
		if (IsPlayingContent == 0) {
			Back2PrevFolder(&Current_Page, &FileListTree, path);
		}
		printf("Back: %s\n", Current_Page->name);
		IsPlayingContent = 0;
		Browser_FileCtrl(IR_EQ, FileSelection);
		break;
	case IR_0:
		picture_capture = 1;
		break;
	case IR_100_Plus:
		FileSelection = 18;
		Browser_FileCtrl(IR_100_Plus, FileSelection);
		break;
	case IR_200_Plus:
		break;
	case IR_1:
		break;
	case IR_2:
		break;
	case IR_3:
		break;
	case IR_4:
		break;
	case IR_5:
		break;
	case IR_6:
		break;
	case IR_7:
		break;
	case IR_8:
		break;
	case IR_9:
		break;
	default:
		break;
	}
}
/* USER CODE END 4 */

 /* MPU Configuration */

void MPU_Config(void)
{
  MPU_Region_InitTypeDef MPU_InitStruct = {0};

  /* Disables the MPU */
  HAL_MPU_Disable();

  /** Initializes and configures the Region and the memory to be protected
  */
  MPU_InitStruct.Enable = MPU_REGION_ENABLE;
  MPU_InitStruct.Number = MPU_REGION_NUMBER0;
  MPU_InitStruct.BaseAddress = 0x0;
  MPU_InitStruct.Size = MPU_REGION_SIZE_4GB;
  MPU_InitStruct.SubRegionDisable = 0x87;
  MPU_InitStruct.TypeExtField = MPU_TEX_LEVEL0;
  MPU_InitStruct.AccessPermission = MPU_REGION_NO_ACCESS;
  MPU_InitStruct.DisableExec = MPU_INSTRUCTION_ACCESS_DISABLE;
  MPU_InitStruct.IsShareable = MPU_ACCESS_SHAREABLE;
  MPU_InitStruct.IsCacheable = MPU_ACCESS_NOT_CACHEABLE;
  MPU_InitStruct.IsBufferable = MPU_ACCESS_NOT_BUFFERABLE;

  HAL_MPU_ConfigRegion(&MPU_InitStruct);
  /* Enables the MPU */
  HAL_MPU_Enable(MPU_PRIVILEGED_DEFAULT);

}

void Error_Handler(void)
{
	__disable_irq();
	while (1) {
	}
}
